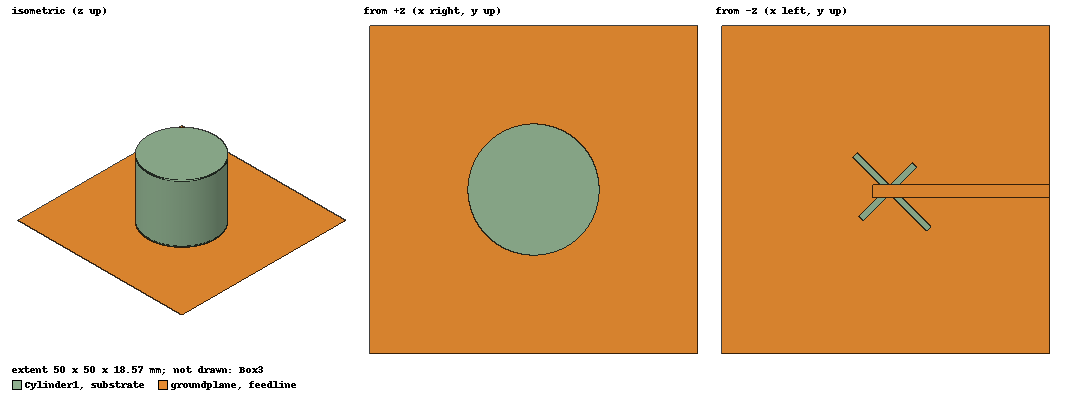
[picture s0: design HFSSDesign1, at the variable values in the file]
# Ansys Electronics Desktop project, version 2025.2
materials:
  vacuum: permittivity=1
  FR4_epoxy: permittivity=4.4 dielectric_loss_tangent=0.02
  copper: permeability=0.999991 conductivity=58000000
  Al2_O3_ceramic: permittivity=9.8

design HFSSDesign1 (HFSS, HFSS Terminal Network, model units mm)
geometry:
  substrate [FR4_epoxy] = box(corner=(0mm, 0mm, 1mm), size=(50mm, 50mm, 0.035mm))
  groundplane [copper] = box(corner=(0mm, 0mm, 1mm), size=(50mm, 50mm, 0.035mm))
  feedline [copper] = box(corner=(0mm, 23.75mm, 0mm), size=(27mm, 2mm, -0.035mm))
  Box1 = box(corner=(32mm, -4.5mm, 1mm), size=(0.9mm, 11.5mm, 0.035mm))
  Box2 = box(corner=(26mm, 1mm, 1mm), size=(16mm, 0.9mm, 0.035mm))
  Box1.move(-13.75mm, 22.75mm, -1.035mm)
  Box2.move(-14.85mm, 23mm, -1.035mm)
  [Box1, Box2].rotate(axis=Z, angle=45deg)
  Box1.move(28.429468mm, -5.5116576mm, 1.035mm)
  Box2.move(27.793072mm, -6.1480537mm, 1.035mm)
  groundplane.subtract(Box1)
  Cylinder1 [Al2_O3_ceramic] = cylinder(axis=Z, base_centre=(25mm, 25mm, 1.035mm), radius=10mm, height=17.5mm)
  Box3 [vacuum] = box(corner=(-50mm, -50mm, -50mm), size=(150mm, 150mm, 100mm))
  groundplane.subtract(Box2)
  port = rectangle(corner=(0mm, 23.75mm, -0.035mm), y_size=2mm, z_size=1.07mm)
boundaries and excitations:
  Rad1: Radiation Objects=Box3
  1: Lumped Port Objects=port LumpedPortType=Modal Modes{Mode1{IntLine{(0, 25, 0) -> (0, 25, 1.035)} CharImp=Zpi RenormImp=50ohm}} Impedance=50ohm
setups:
  Setup1: HfssDriven Frequency=4.5GHz MaxDeltaS=0.02 MaximumPasses=13 MinimumPasses=1 MinimumConvergedPasses=1 PercentRefinement=30 BasisOrder=1 PortAccuracy=2 DrivenSolverType="Direct Solver"
    sweep Sweep: 3GHz to 5.5GHz step 0.01GHz; Type=Fast SaveFields
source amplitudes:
  1:1: 1V 0deg
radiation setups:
  Infinite Sphere1: Infinite Sphere Theta=0deg..360deg step 10deg Phi=0deg..360deg step 10deg
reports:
  Terminal S Parameter Plot1: dB(St(1,1)) vs Freq on Setup1 : Sweep
  Terminal S Parameter Plot2: dB(St(1,1)) vs Freq on Setup1 : Sweep
  Axial Ratio Plot1: dB(AxialRatioValue) vs Theta on Setup1 : LastAdaptive, Infinite Sphere1 [Phi=all Freq=4.5GHz]
  Axial Ratio Plot2: dB(AxialRatioValue) vs Phi on Setup1 : LastAdaptive, Infinite Sphere1 [Theta=all Freq=4.5GHz]
  Axial Ratio Plot3: dB(AxialRatioValue) vs Freq on Setup1 : Sweep, Infinite Sphere1 [Phi=all Theta=all]
  Axial Ratio Plot4: mag(AxialRatioValue) vs Freq on Setup1 : Sweep, Infinite Sphere1 [Freq=3.01GHz,3.04GHz,3.08GHz,3.55GHz,3.57GHz,3.59GHz,3.91GHz,3.95GHz,3.98GHz,4.01GHz,4.11GHz,4.15GHz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 Phi=0deg Theta=0deg]
  Axial Ratio Plot5: dB(AxialRatioValue) vs Freq on Setup1 : Sweep, Infinite Sphere1 [Freq=3GHz,3.04GHz,3.07GHz,3.16GHz,3.22GHz,3.34GHz,3.45GHz,3.54GHz,3.66GHz,3.88GHz,3.93GHz,4.05GHz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 Phi=0deg Theta=0deg]
